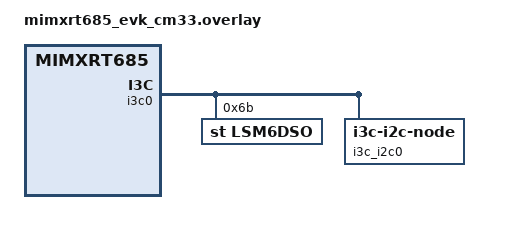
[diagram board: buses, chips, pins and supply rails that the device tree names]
&arduino_i2c {
	status = "disabled";
};

&i3c0 {
	status = "okay";

	/*
	 * There might be other connected I2C devices
	 * (for example, if using Arduino shield) which
	 * cannot tolerate high clock speed. So slow
	 * down the clock.
	 */
	i2c-scl-hz = <400000>;
	i3c-scl-hz = <400000>;
	i3c-od-scl-hz = <400000>;

	clk-divider = <12>;
	clk-divider-slow = <1>;
	clk-divider-tc = <1>;

	lsm6dso@6b {
		label = "LSM6DSO";
		compatible = "st,lsm6dso";
		reg = <0x6b 0x0208 0x006c100b>;

		status = "okay";
	};

	i3c_i2c0 {
		compatible = "zephyr,i3c-i2c-node";
		#address-cells = <1>;
		#size-cells = <0>;

		eeprom: eeprom@51 {
			compatible = "atmel,at24";
			status = "okay";
			reg = <0x51>;
			size = <4096>;
			address-width = <8>;
			timeout = <25>;
			pagesize = <32>;
			label = "EEPROM";
		};
	};
};
